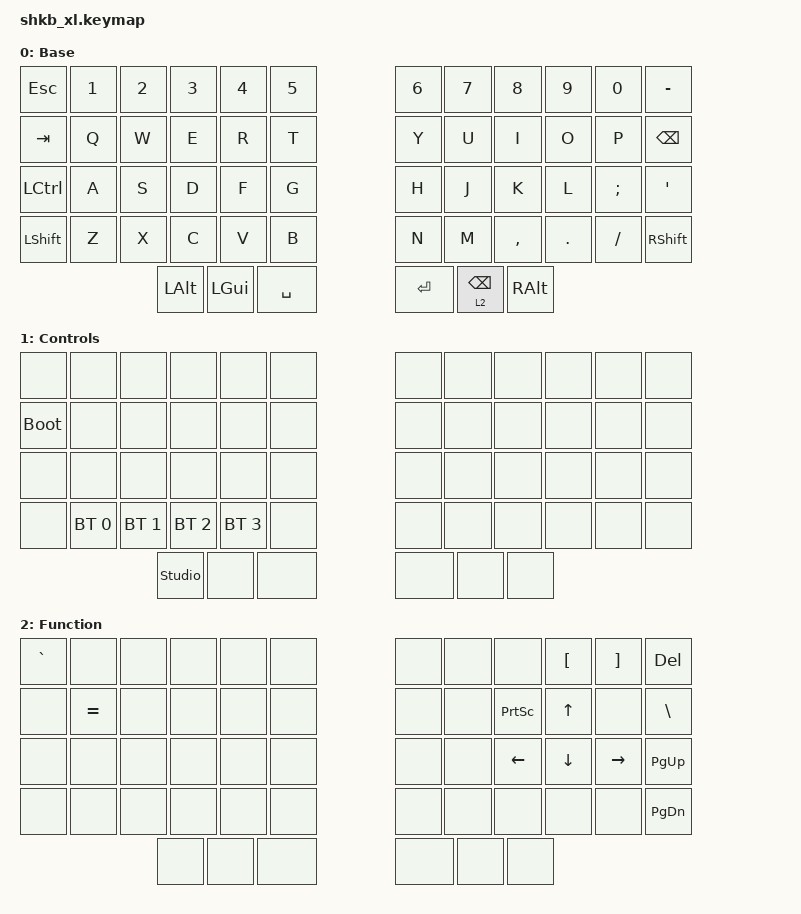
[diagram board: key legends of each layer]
#include <behaviors.dtsi>
#include <dt-bindings/zmk/keys.h>
#include <dt-bindings/zmk/bt.h>

/ {

    combos {
        compatible = "zmk,combo";
        combo_ctrl_layer {
            timeout-ms = <50>;
            key-positions = <48 53>;
            bindings = <&mo 1>;
        };
    };

    keymap {
        compatible = "zmk,keymap";

        default_layer {
            display-name = "Base";
            bindings = <
                &kp ESC    &kp N1 &kp N2 &kp N3    &kp N4    &kp N5     &kp N6     &kp N7         &kp N8     &kp N9      &kp N0         &kp MINUS
                &kp TAB    &kp Q &kp W &kp E    &kp R    &kp T     &kp Y     &kp U         &kp I     &kp O      &kp P         &kp BACKSPACE
                &kp LCTRL   &kp A &kp S &kp D    &kp F    &kp G     &kp H     &kp J         &kp K     &kp L      &kp SEMICOLON &kp APOSTROPHE
                &kp LSHIFT &kp Z &kp X &kp C    &kp V    &kp B     &kp N     &kp M         &kp COMMA &kp PERIOD &kp SLASH     &kp RSHIFT
                                       &kp LALT &kp LGUI &kp SPACE &kp ENTER &lt 2 BSPC &kp RALT
            >;
        };

        layer_1{
            display-name = "Controls";
            bindings = <
                &none       &none        &none        &none        &none     &none &none &none &none &none &none &none 
                &bootloader &none        &none        &none        &none     &none &none &none &none &none &none &none 
                &none       &none        &none        &none        &none     &none &none &none &none &none &none &none 
                &none       &bt BT_SEL 0 &bt BT_SEL 1 &bt BT_SEL 2 &bt BT_SEL 3 &none &none &none &none &none &none &none
                                                      &studio_unlock       &none     &none &none &none &none
            >;
        };

        layer_2 {
            display-name = "Function";
            bindings = <
                &kp GRAVE &none &none &none &none &none &none &none &none &kp LBKT &kp RBKT &kp DEL 
                &none &kp EQUAL &none &none &none &none &none &none &kp PSCRN &kp UP   &none    &kp BSLH
                &none &none &none &none &none &none &none &none &kp LEFT &kp DOWN &kp RIGHT &kp PG_UP 
                &none &none &none &none &none &none &none &none &none &none &none &kp PG_DN 
                                   &none &none &none &none &none &none
            >;
        };

        extra1 {
            status = "reserved";
        };

        extra2 {
            status = "reserved";
        };

        extra3{
            status = "reserved";
        };
    };
};
